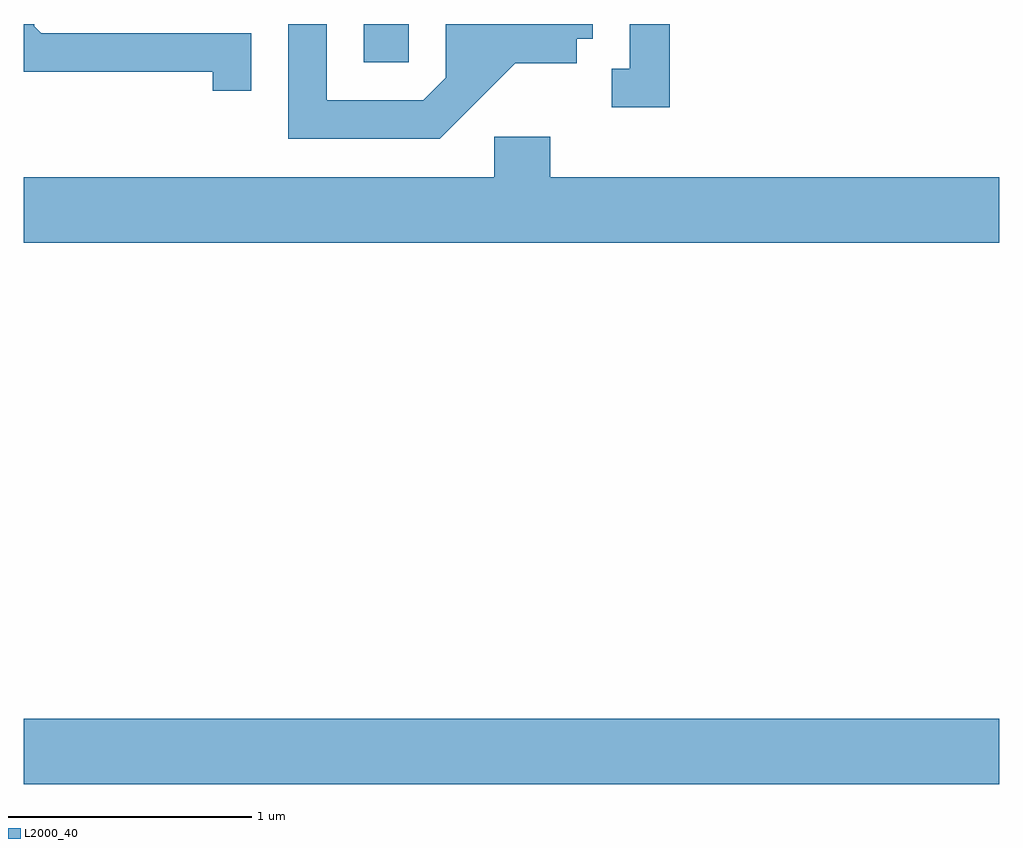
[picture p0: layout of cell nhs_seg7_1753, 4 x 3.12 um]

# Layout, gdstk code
import gdstk
lib = gdstk.Library(unit=1e-6, precision=1e-09)
def R(c, l, rs):  # rectangles x0, y0, x1, y1
    for r in rs: c.add(gdstk.rectangle(r[:2], r[2:], *l))
def P(c, l, *ps):  # polygons
    for p in ps: c.add(gdstk.Polygon(p, *l))
L2000_40 = (2000, 40)

nhs_seg7_1753 = lib.new_cell('nhs_seg7_1753')
R(nhs_seg7_1753, L2000_40, [(237.611,1783.136,241.611,1783.404), (239.006,1786.096,239.189,1786.252)])
P(nhs_seg7_1753, L2000_40, [(239.627,1786.091),(239.879,1786.091),(239.879,1786.191),(239.944,1786.191),(239.944,1786.252),(239.341,1786.252),(239.341,1786.032),(239.249,1785.939),(238.854,1785.939),(238.854,1786.252),(238.696,1786.252),(238.696,1785.781),(239.317,1785.781)],
  [(240.259,1786.252),(240.096,1786.252),(240.096,1786.069),(240.023,1786.069),(240.023,1785.911),(240.259,1785.911)],
  [(238.544,1786.214),(237.682,1786.214),(237.654,1786.242),(237.654,1786.252),(237.611,1786.252),(237.611,1786.056),(238.386,1786.056),(238.386,1785.978),(238.544,1785.978)],
  [(241.611,1785.624),(239.769,1785.624),(239.769,1785.789),(239.541,1785.789),(239.541,1785.624),(237.611,1785.624),(237.611,1785.356),(241.611,1785.356)])

lib.write_gds('nhs_seg7_1753.gds')
